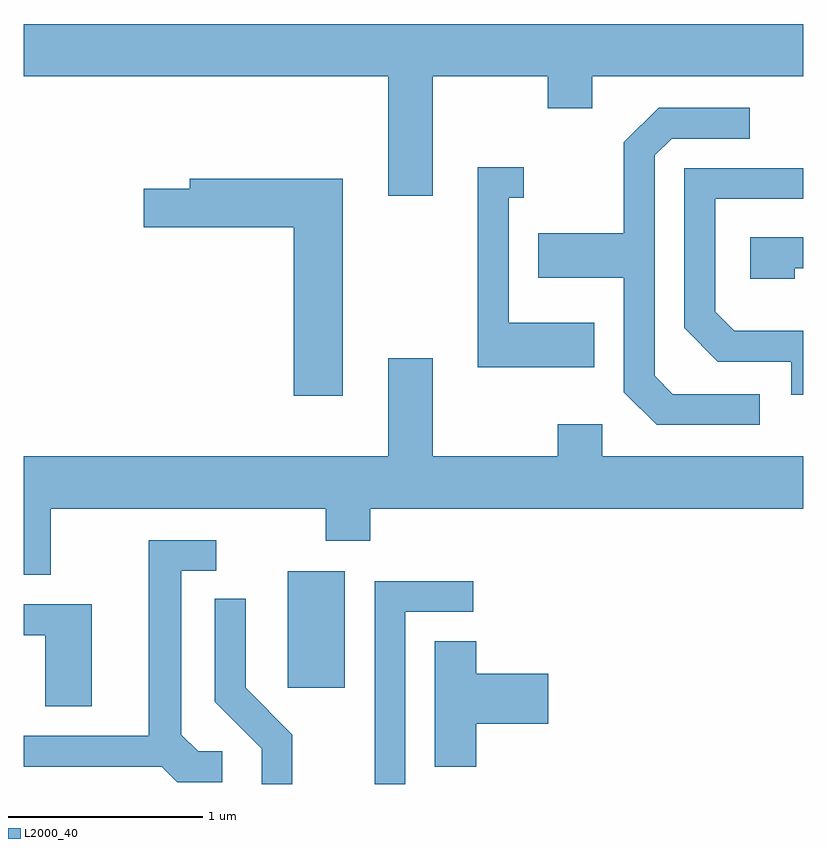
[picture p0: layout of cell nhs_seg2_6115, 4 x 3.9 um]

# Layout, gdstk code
import gdstk
lib = gdstk.Library(unit=1e-6, precision=1e-09)
def R(c, l, rs):  # rectangles x0, y0, x1, y1
    for r in rs: c.add(gdstk.rectangle(r[:2], r[2:], *l))
def P(c, l, *ps):  # polygons
    for p in ps: c.add(gdstk.Polygon(p, *l))
L2000_40 = (2000, 40)

nhs_seg2_6115 = lib.new_cell('nhs_seg2_6115')
R(nhs_seg2_6115, L2000_40, [(366.966,1036.296,367.259,1036.894)])
P(nhs_seg2_6115, L2000_40, [(367.709,1039.436),(368.301,1039.436),(368.301,1039.271),(368.529,1039.271),(368.529,1039.436),(369.611,1039.436),(369.611,1039.704),(365.611,1039.704),(365.611,1039.436),(367.481,1039.436),(367.481,1038.821),(367.709,1038.821)],
  [(369.388,1037.804),(368.942,1037.804),(368.849,1037.897),(368.849,1039.029),(368.937,1039.116),(369.338,1039.116),(369.338,1039.274),(368.869,1039.274),(368.691,1039.097),(368.691,1038.629),(368.251,1038.629),(368.251,1038.401),(368.691,1038.401),(368.691,1037.814),(368.859,1037.646),(369.388,1037.646)],
  [(368.539,1038.169),(368.099,1038.169),(368.099,1038.811),(368.178,1038.811),(368.178,1038.969),(367.941,1038.969),(367.941,1037.941),(368.539,1037.941)],
  [(369.611,1038.129),(369.257,1038.129),(369.159,1038.227),(369.159,1038.806),(369.611,1038.806),(369.611,1038.964),(369.001,1038.964),(369.001,1038.144),(369.174,1037.971),(369.551,1037.971),(369.551,1037.801),(369.611,1037.801)],
  [(367.249,1038.909),(366.461,1038.909),(366.461,1038.859),(366.226,1038.859),(366.226,1038.661),(366.996,1038.661),(366.996,1037.796),(367.249,1037.796)],
  [(369.569,1038.451),(369.611,1038.451),(369.611,1038.609),(369.341,1038.609),(369.341,1038.396),(369.569,1038.396)],
  [(365.749,1037.216),(367.161,1037.216),(367.161,1037.051),(367.389,1037.051),(367.389,1037.216),(369.611,1037.216),(369.611,1037.484),(368.579,1037.484),(368.579,1037.649),(368.351,1037.649),(368.351,1037.484),(367.709,1037.484),(367.709,1037.989),(367.481,1037.989),(367.481,1037.484),(365.611,1037.484),(365.611,1036.876),(365.749,1036.876)],
  [(366.628,1035.969),(366.507,1035.969),(366.419,1036.056),(366.419,1036.896),(366.598,1036.896),(366.598,1037.054),(366.251,1037.054),(366.251,1036.049),(365.611,1036.049),(365.611,1035.891),(366.319,1035.891),(366.399,1035.811),(366.628,1035.811)],
  [(367.569,1036.686),(367.918,1036.686),(367.918,1036.844),(367.411,1036.844),(367.411,1035.802),(367.569,1035.802)],
  [(366.989,1036.056),(366.749,1036.296),(366.749,1036.753),(366.591,1036.753),(366.591,1036.224),(366.831,1035.984),(366.831,1035.802),(366.989,1035.802)],
  [(365.959,1036.724),(365.611,1036.724),(365.611,1036.566),(365.721,1036.566),(365.721,1036.201),(365.959,1036.201)],
  [(367.934,1036.111),(368.304,1036.111),(368.304,1036.369),(367.934,1036.369),(367.934,1036.534),(367.721,1036.534),(367.721,1035.891),(367.934,1035.891)])

lib.write_gds('nhs_seg2_6115.gds')
